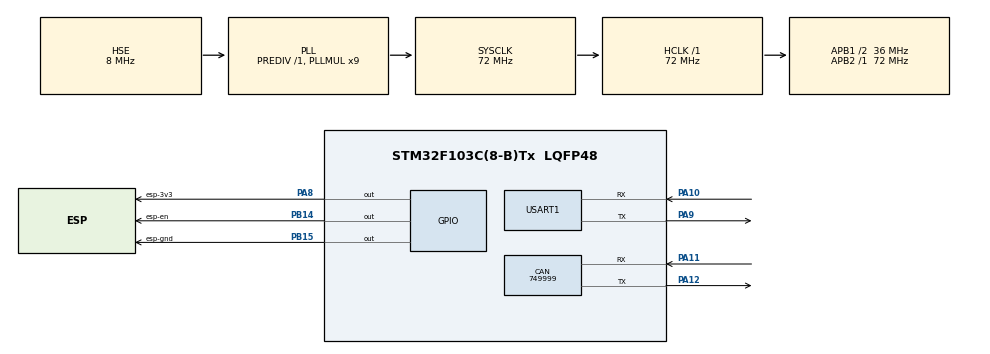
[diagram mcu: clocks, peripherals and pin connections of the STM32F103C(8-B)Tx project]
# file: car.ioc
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CAN.CalculateBaudRate=749999
CAN.CalculateTimeBit=1333
CAN.CalculateTimeQuantum=444.44444444444446
Mcu.Family=STM32F1
Mcu.Name=STM32F103C(8-B)Tx
Mcu.Package=LQFP48
NVIC.PriorityGroup=NVIC_PRIORITYGROUP_4
PA10.Mode=Asynchronous
PA10.Signal=USART1_RX
PA11.Mode=CAN_Activate
PA11.Signal=CAN_RX
PA12.Mode=CAN_Activate
PA12.Signal=CAN_TX
PA13.Mode=Serial_Wire
PA13.Signal=SYS_JTMS-SWDIO
PA14.Mode=Serial_Wire
PA14.Signal=SYS_JTCK-SWCLK
PA8.GPIO_Label=esp-3v3
PA8.GPIO_ModeDefaultOutputPP=GPIO_MODE_OUTPUT_PP
PA8.GPIO_PuPd=GPIO_PULLUP
PA8.PinState=GPIO_PIN_RESET
PA8.Signal=GPIO_Output
PA9.Mode=Asynchronous
PA9.Signal=USART1_TX
PB14.GPIO_Label=esp-en
PB14.GPIO_PuPd=GPIO_PULLUP
PB14.Signal=GPIO_Output
PB15.GPIO_Label=esp-gnd
PB15.GPIO_PuPd=GPIO_PULLDOWN
PB15.Signal=GPIO_Output
PD0-OSC_IN.Mode=HSE-External-Oscillator
PD0-OSC_IN.Signal=RCC_OSC_IN
PD1-OSC_OUT.Mode=HSE-External-Oscillator
PD1-OSC_OUT.Signal=RCC_OSC_OUT
ProjectManager.HeapSize=0x200
ProjectManager.StackSize=0x400
ProjectManager.TargetToolchain=CMake
RCC.AHBFreq_Value=72000000
RCC.APB1CLKDivider=RCC_HCLK_DIV2
RCC.APB1Freq_Value=36000000
RCC.APB1TimFreq_Value=72000000
RCC.APB2Freq_Value=72000000
RCC.APB2TimFreq_Value=72000000
RCC.HCLKFreq_Value=72000000
RCC.PLLMUL=RCC_PLL_MUL9
RCC.PLLSourceVirtual=RCC_PLLSOURCE_HSE
RCC.SYSCLKFreq_VALUE=72000000
RCC.SYSCLKSource=RCC_SYSCLKSOURCE_PLLCLK
RCC.USBFreq_Value=72000000
USART1.VirtualMode=VM_ASYNC
board=custom

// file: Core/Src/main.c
/* USER CODE BEGIN Header */
/**
  ******************************************************************************
  * @file           : main.c
  * @brief          : CAN OBD2 Dashboard - Multi-Protocol Auto-Detect
  ******************************************************************************
  */
/* USER CODE END Header */
#include "main.h"

/* USER CODE BEGIN Includes */
#include <stdio.h>
#include <string.h>
/* USER CODE END Includes */

/* USER CODE BEGIN PD */
#define DBG_UART &huart1

// 串口DMA发送环形缓冲区
#define UART_TX_BUF_SIZE 512
static uint8_t uart_tx_buf[UART_TX_BUF_SIZE];
static volatile uint16_t uart_tx_wr = 0;
static volatile uint16_t uart_tx_rd = 0;
static volatile uint8_t uart_tx_dma_busy = 0;
static volatile uint16_t uart_tx_dma_len = 0;

// DMA句柄
DMA_HandleTypeDef hdma_usart1_tx;

// PID发送间隔 (ms)
#define PID_SEND_INTERVAL 5

// OBD2 CAN 协议定义 (ELM327 编号)
typedef enum {
    PROTO_NONE = 0,
    PROTO_CAN_11B_500K = 6,
    PROTO_CAN_11B_250K = 8,
    PROTO_CAN_29B_500K = 7,
    PROTO_CAN_29B_250K = 9,
} OBD2_Protocol_t;

static OBD2_Protocol_t obd2_protocol = PROTO_NONE;

// PID 轮询列表
#define PID_COUNT 6
static const uint8_t obd2_pid_list[PID_COUNT] = {
    0x04, 0x05, 0x0C, 0x0D, 0x10, 0x11
};
static const char* pid_names[PID_COUNT] = {
    "LOAD", "TMP", "RPM", "SPD", "MAF", "THR"
};

// 解析后的数据
static volatile int16_t pid_values[PID_COUNT] = {-1, -1, -1, -1, -1, -1};
static volatile uint8_t  pid_valid[PID_COUNT] = {0, 0, 0, 0, 0, 0};
static volatile uint32_t pid_rx_count = 0;
static volatile uint32_t pid_tx_count = 0;
static volatile uint32_t pid_timeout_count = 0;
static volatile uint8_t  rx_ready = 0;

static CAN_RxHeaderTypeDef rx_header_buf;
static uint8_t rx_data_buf[8];

// 状态机
typedef enum { OBD2_IDLE, OBD2_WAITING } OBD2_State_t;
static volatile OBD2_State_t obd2_state = OBD2_IDLE;
static volatile uint32_t obd2_wait_tick = 0;
static volatile uint8_t obd2_current_pid_idx = 0;

/* 串口接收缓冲区（参考 car111plus 帧格式） */
#define UART_RX_BUF_SIZE 128
static uint8_t uart_rx_byte;
static uint8_t uart_rx_buf[UART_RX_BUF_SIZE];
static uint8_t uart_rx_wr_idx = 0;
static volatile uint8_t uart_rx_ready = 0;
/* USER CODE END PD */

CAN_HandleTypeDef hcan;

UART_HandleTypeDef huart1;

void SystemClock_Config(void);
static void MX_GPIO_Init(void);
static void MX_CAN_Init(void);
static void MX_USART1_UART_Init(void);
/* USER CODE BEGIN PFP */
static void ESP_PowerOn(void);
static void ESP_PowerOff(void);
static void ESP_HardReset(void);
static void MX_DMA_Init(void);
static void UART_TxBuf_StartDMA(void);
/* USER CODE END PFP */

/* USER CODE BEGIN 0 */

/* ---------- 串口DMA发送 ---------- */
static void UART_TxBuf_StartDMA(void)
{
    uint32_t primask = __get_PRIMASK();
    __disable_irq();

    if (uart_tx_dma_busy) {
        __set_PRIMASK(primask);
        return;
    }

    uint16_t rd = uart_tx_rd;
    uint16_t wr = uart_tx_wr;

    if (rd == wr) {
        __set_PRIMASK(primask);
        return;
    }

    uint16_t len = (wr > rd) ? (wr - rd) : (UART_TX_BUF_SIZE - rd);
    uart_tx_dma_busy = 1;
    uart_tx_dma_len = len;
    __set_PRIMASK(primask);

    if (HAL_UART_Transmit_DMA(&huart1, &uart_tx_buf[rd], len) != HAL_OK) {
        __disable_irq();
        uart_tx_dma_busy = 0;
        __enable_irq();
    }
}

int _write(int file, char *ptr, int len)
{
    (void)file;

    uint32_t primask = __get_PRIMASK();
    __disable_irq();

    int written = 0;
    for (int i = 0; i < len; i++) {
        uint16_t next = (uart_tx_wr + 1) % UART_TX_BUF_SIZE;
        if (next == uart_tx_rd) break; // 缓冲区满
        uart_tx_buf[uart_tx_wr] = ptr[i];
        uart_tx_wr = next;
        written++;
    }

    __set_PRIMASK(primask);

    UART_TxBuf_StartDMA();
    return written;
}

int __io_putchar(int ch)
{
    char c = ch;
    _write(0, &c, 1);
    return ch;
}

/* DMA发送完成回调 */
void HAL_UART_TxCpltCallback(UART_HandleTypeDef *huart)
{
    if (huart->Instance != USART1) return;

    __disable_irq();
    uart_tx_rd = (uart_tx_rd + uart_tx_dma_len) % UART_TX_BUF_SIZE;
    uart_tx_dma_busy = 0;
    __enable_irq();

    UART_TxBuf_StartDMA();
}

/* ESP-01 电源控制 -----------------------------------------------------------*/
// 警告：PB15(esp_gnd) 被直接用作 ESP-01 的功率地。GPIO 引脚不适合承载 ESP-01
// 的峰值电流(>300mA)，长期/大量使用可能导致 STM32 复位或损坏。强烈建议将
// ESP-01 的 GND 直接接到系统公共地（如排针 GND、面包板公共地），而非 GPIO。
//
// 以下宏定义电源和使能的有效电平，请根据实际电路修改：
//   GPIO_PIN_SET   = 高电平有效（高侧开关 / N-MOS+驱动）
//   GPIO_PIN_RESET = 低电平有效（PMOS 高侧开关 / 低使能 LDO）
#define ESP_PWR_ACTIVE_LEVEL    GPIO_PIN_SET    // esp_3v3 供电开关有效电平
#define ESP_EN_ACTIVE_LEVEL     GPIO_PIN_SET    // esp_en  CH_PD/EN 有效电平

static void ESP_PowerOn(void)
{
    GPIO_PinState en_off = (ESP_EN_ACTIVE_LEVEL == GPIO_PIN_SET) ? GPIO_PIN_RESET : GPIO_PIN_SET;

    // PB15(esp_gnd) 已作为功率地使用，必须始终保持低电平，严禁拉高！
    // CubeMX 初始化时已将其设为 RESET(低)，此处不再操作。

    // 1. EN先拉低，确保ESP处于复位状态
    HAL_GPIO_WritePin(esp_en_GPIO_Port, esp_en_Pin, en_off);

    // 2. 开启3.3V供电
    HAL_GPIO_WritePin(esp_3v3_GPIO_Port, esp_3v3_Pin, ESP_PWR_ACTIVE_LEVEL);

    // 3. 等待电源稳定（至少100ms，留200ms余量）
    HAL_Delay(200);

    // 4. 拉高EN释放复位，ESP开始从Flash启动
    HAL_GPIO_WritePin(esp_en_GPIO_Port, esp_en_Pin, ESP_EN_ACTIVE_LEVEL);

    // 5. 等待ESP-01启动完成（典型500ms~1s）
    HAL_Delay(1000);
    printf("[ESP] Power on sequence completed\r\n");
}

static void ESP_PowerOff(void)
{
    GPIO_PinState en_off = (ESP_EN_ACTIVE_LEVEL == GPIO_PIN_SET) ? GPIO_PIN_RESET : GPIO_PIN_SET;
    GPIO_PinState pwr_off = (ESP_PWR_ACTIVE_LEVEL == GPIO_PIN_SET) ? GPIO_PIN_RESET : GPIO_PIN_SET;

    // 1. 先拉低EN，让ESP进入复位
    HAL_GPIO_WritePin(esp_en_GPIO_Port, esp_en_Pin, en_off);
    HAL_Delay(50);

    // 2. 关闭3.3V供电
    HAL_GPIO_WritePin(esp_3v3_GPIO_Port, esp_3v3_Pin, pwr_off);

    // 注意：此处严禁操作 PB15(esp_gnd)。若拉高，ESP-01 将因 GND 被拉到 3.3V 而烧毁。

    printf("[ESP] Powered off\r\n");
}

static void ESP_HardReset(void)
{
    printf("[ESP] Hard resetting...\r\n");
    ESP_PowerOff();
    HAL_Delay(500);
    ESP_PowerOn();
}

// 检查响应 ID 是否有效
// 11-bit: 0x7E8 ~ 0x7EF
// 29-bit: 0x18DAF100 ~ 0x18DAF1EF
static int IsValidResponseID(uint32_t id, uint32_t ide)
{
    if (ide == CAN_ID_STD) {
        return (id >= 0x7E8 && id <= 0x7EF);
    } else {
        return (id >= 0x18DAF100 && id <= 0x18DAF1EF);
    }
}

// 发送原始 OBD2 请求帧
static int OBD2_SendRaw(uint32_t id, uint8_t is_ext, uint8_t pid)
{
    CAN_TxHeaderTypeDef txh;
    uint8_t txd[8];
    uint32_t mb;

    uint32_t tec = (CAN1->ESR >> 16) & 0xFF;
    uint32_t rec = (CAN1->ESR >> 24) & 0xFF;
    if (rec > 200 || tec > 100) {
        HAL_CAN_Stop(&hcan);
        HAL_CAN_Start(&hcan);
        HAL_CAN_ActivateNotification(&hcan, CAN_IT_RX_FIFO0_MSG_PENDING);
    }

    if (HAL_CAN_GetTxMailboxesFreeLevel(&hcan) == 0) {
        HAL_CAN_AbortTxRequest(&hcan, CAN_TX_MAILBOX0);
        HAL_CAN_AbortTxRequest(&hcan, CAN_TX_MAILBOX1);
        HAL_CAN_AbortTxRequest(&hcan, CAN_TX_MAILBOX2);
    }

    txh.StdId = is_ext ? 0 : (id & 0x7FF);
    txh.ExtId = is_ext ? id : 0;
    txh.IDE   = is_ext ? CAN_ID_EXT : CAN_ID_STD;
    txh.RTR   = CAN_RTR_DATA;
    txh.DLC   = 8;
    txh.TransmitGlobalTime = DISABLE;

    txd[0] = 0x02;
    txd[1] = 0x01;
    txd[2] = pid;
    txd[3] = 0x00; txd[4] = 0x00; txd[5] = 0x00; txd[6] = 0x00; txd[7] = 0x00;

    return HAL_CAN_AddTxMessage(&hcan, &txh, txd, &mb);
}

// 根据当前协议发送请求（自动选择 11b/29b）
static int OBD2_SendRequest(uint8_t pid)
{
    uint32_t tx_id;
    uint8_t is_ext;

    switch (obd2_protocol) {
        case PROTO_CAN_29B_500K:
        case PROTO_CAN_29B_250K:
            tx_id = 0x18DB33F1;  // 29-bit 功能请求 ID
            is_ext = 1;
            break;
        default:
            tx_id = 0x7DF;       // 11-bit 功能请求 ID
            is_ext = 0;
            break;
    }
    return OBD2_SendRaw(tx_id, is_ext, pid);
}

// 解析 PID 数据
static void ParsePID(uint8_t pid, uint8_t *data, uint8_t dlc)
{
    int16_t value = -1;
    switch (pid) {
        case 0x04: // 计算机负载 (%)
            if (dlc >= 4) value = (int16_t)(data[3] * 100 / 255);
            break;
        case 0x05: // 冷却液温度 (°C)
            if (dlc >= 4) value = (int16_t)data[3] - 40;
            break;
        case 0x0C: // 发动机转速 (RPM)
            if (dlc >= 5) value = (int16_t)((data[3] * 256 + data[4]) / 4);
            break;
        case 0x0D: // 车速 (km/h)
            if (dlc >= 4) value = (int16_t)data[3];
            break;
        case 0x10: // 空气流量 (g/s)
            if (dlc >= 5) value = (int16_t)((data[3] * 256 + data[4]) / 100);
            break;
        case 0x11: // 节气门位置 (%)
            if (dlc >= 4) value = (int16_t)(data[3] * 100 / 255);
            break;
    }
    for (int i = 0; i < PID_COUNT; i++) {
        if (obd2_pid_list[i] == pid) {
            pid_values[i] = value;
            pid_valid[i] = 1;
            break;
        }
    }
}

// 配置 CAN 波特率并重启
static int CAN_SetBaudrate(uint32_t prescaler)
{
    HAL_CAN_Stop(&hcan);
    hcan.Init.Prescaler = prescaler;
    if (HAL_CAN_Init(&hcan) != HAL_OK) return -1;

    CAN_FilterTypeDef cf = {0};
    cf.FilterBank = 0;
    cf.FilterMode = CAN_FILTERMODE_IDMASK;
    cf.FilterScale = CAN_FILTERSCALE_32BIT;
    cf.FilterIdHigh = 0x0000; cf.FilterIdLow = 0x0000;
    cf.FilterMaskIdHigh = 0x0000; cf.FilterMaskIdLow = 0x0000;
    cf.FilterFIFOAssignment = CAN_FILTER_FIFO0;
    cf.FilterActivation = ENABLE;
    cf.SlaveStartFilterBank = 14;
    if (HAL_CAN_ConfigFilter(&hcan, &cf) != HAL_OK) return -1;
    if (HAL_CAN_Start(&hcan) != HAL_OK) return -1;
    if (HAL_CAN_ActivateNotification(&hcan, CAN_IT_RX_FIFO0_MSG_PENDING) != HAL_OK) return -1;
    return 0;
}

// 上电协议自动检测
static OBD2_Protocol_t OBD2_DetectProtocol(void)
{
    const struct {
        OBD2_Protocol_t proto;
        uint32_t prescaler;
        uint8_t is_ext;
        uint32_t tx_id;
        const char* name;
    } tests[] = {
        {PROTO_CAN_11B_500K, 4, 0, 0x7DF,      "ISO15765-4 CAN 11b 500k"},   // 36M/(4*18)=500k
        {PROTO_CAN_11B_250K, 8, 0, 0x7DF,      "ISO15765-4 CAN 11b 250k"},   // 36M/(8*18)=250k
        {PROTO_CAN_29B_500K, 4, 1, 0x18DB33F1, "ISO15765-4 CAN 29b 500k"},   // 36M/(4*18)=500k
        {PROTO_CAN_29B_250K, 8, 1, 0x18DB33F1, "ISO15765-4 CAN 29b 250k"},   // 36M/(8*18)=250k
    };

    printf("[DETECT] Scanning OBD2 CAN protocols...\r\n");

    for (int i = 0; i < 4; i++) {
        printf("[DETECT] Trying %s... ", tests[i].name);

        if (CAN_SetBaudrate(tests[i].prescaler) != 0) {
            printf("INIT FAIL\r\n");
            continue;
        }
        HAL_Delay(50);

        // 发送 PID 0x0C(转速) 测试请求，该 PID 几乎所有 ECU 都支持
        if (OBD2_SendRaw(tests[i].tx_id, tests[i].is_ext, 0x0C) == HAL_OK) {
            uint32_t start = HAL_GetTick();
            int found = 0;
            while (HAL_GetTick() - start < 500) {
                if (rx_ready) {
                    rx_ready = 0;
                    uint32_t rid = (rx_header_buf.IDE == CAN_ID_EXT) ? rx_header_buf.ExtId : rx_header_buf.StdId;
                    if (IsValidResponseID(rid, rx_header_buf.IDE)) {
                        found = 1;
                        break;
                    }
                }
            }
            if (found) {
                printf("OK\r\n");
                printf("[DETECT] Protocol detected: %s\r\n", tests[i].name);
                // 清空检测阶段残留的 CAN 接收帧，避免污染正式轮询
                CAN_RxHeaderTypeDef hdr;
                uint8_t d[8];
                while (HAL_CAN_GetRxFifoFillLevel(&hcan, CAN_RX_FIFO0) > 0) {
                    HAL_CAN_GetRxMessage(&hcan, CAN_RX_FIFO0, &hdr, d);
                }
                rx_ready = 0;
                return tests[i].proto;
            }
        }
        printf("NO RESP\r\n");
        HAL_Delay(100);
    }

    printf("[DETECT] No CAN protocol found!\r\n");
    return PROTO_NONE;
}

// CAN 接收中断回调
void HAL_CAN_RxFifo0MsgPendingCallback(CAN_HandleTypeDef *hcan)
{
    CAN_RxHeaderTypeDef hdr;
    uint8_t data[8];
    if (HAL_CAN_GetRxMessage(hcan, CAN_RX_FIFO0, &hdr, data) == HAL_OK) {
        uint32_t rid = (hdr.IDE == CAN_ID_EXT) ? hdr.ExtId : hdr.StdId;
        // 检测阶段或运行阶段都接收有效响应
        if (IsValidResponseID(rid, hdr.IDE)) {
            rx_header_buf = hdr;
            memcpy((void*)rx_data_buf, data, 8);
            rx_ready = 1;
        }
    }
}

/* 串口接收中断回调（参考 car111plus 帧格式：[...]） */
void HAL_UART_RxCpltCallback(UART_HandleTypeDef *huart)
{
    if (huart->Instance != USART1) {
        return;
    }

    if (uart_rx_byte == '[') {
        uart_rx_wr_idx = 0;
        uart_rx_buf[uart_rx_wr_idx++] = uart_rx_byte;
    } else if (uart_rx_wr_idx > 0 && uart_rx_wr_idx < UART_RX_BUF_SIZE) {
        uart_rx_buf[uart_rx_wr_idx++] = uart_rx_byte;
        if (uart_rx_byte == ']') {
            uart_rx_buf[uart_rx_wr_idx] = '\0';
            uart_rx_ready = 1;
            uart_rx_wr_idx = 0;
        }
    }

    HAL_UART_Receive_IT(&huart1, &uart_rx_byte, 1);
}

/* 解析串口接收数据（car111plus 兼容格式） */
static void ParseRxData(void)
{
    uart_rx_ready = 0;

    int load = 0, tmp = 0, rpm = 0, spd = 0, maf = 0, thr = 0;
    int n = sscanf((char *)uart_rx_buf,
                   "[LOAD=%d TMP=%d RPM=%d SPD=%d MAF=%d THR=%d]",
                   &load, &tmp, &rpm, &spd, &maf, &thr);

    if (n == 6) {
        printf("[RX] Parsed: LOAD=%d TMP=%d RPM=%d SPD=%d MAF=%d THR=%d\r\n",
               load, tmp, rpm, spd, maf, thr);
        /* 这里可以添加将接收数据应用到本地变量的逻辑 */
    }
}
/* USER CODE END 0 */

int main(void)
{

  /* MCU Configuration--------------------------------------------------------*/

  /* Reset of all peripherals, Initializes the Flash interface and the Systick. */
  HAL_Init();

  /* Configure the system clock */
  SystemClock_Config();

  /* Initialize all configured peripherals */
  MX_GPIO_Init();
  MX_CAN_Init();
  MX_USART1_UART_Init();
  MX_DMA_Init();
  /* USER CODE BEGIN 2 */
  /* 启动串口接收中断 */
  HAL_UART_Receive_IT(&huart1, &uart_rx_byte, 1);

  ESP_PowerOn();
  /* USER CODE END 2 */

  /* Infinite loop */
  while (1)
  {

    /* USER CODE BEGIN 3 */

    // ---------- OBD2 协议自动检测 ----------
    if (obd2_protocol == PROTO_NONE) {
        obd2_protocol = OBD2_DetectProtocol();
        if (obd2_protocol == PROTO_NONE) {
            printf("[OBD2] No protocol detected, retry in 2s...\r\n");
            HAL_Delay(2000);
        } else {
            printf("[OBD2] Protocol ready, start polling PIDs\r\n");
        }
        continue;
    }

    // ---------- 串口接收处理 ----------
    if (uart_rx_ready) {
        ParseRxData();
    }

    // ---------- PID 轮询状态机 ----------
    static uint32_t last_pid_send_tick = 0;
    if (obd2_state == OBD2_IDLE) {
        uint32_t now = HAL_GetTick();
        if (now - last_pid_send_tick >= PID_SEND_INTERVAL) {
            last_pid_send_tick = now;
            uint8_t pid = obd2_pid_list[obd2_current_pid_idx];
            if (OBD2_SendRequest(pid) == HAL_OK) {
                obd2_state = OBD2_WAITING;
                obd2_wait_tick = now;
                pid_tx_count++;
            }
        }
    }
    else if (obd2_state == OBD2_WAITING) {
        if (rx_ready) {
            rx_ready = 0;

            // 从 OBD2 响应帧中提取实际 PID（ISO 15765-4 单帧格式：data[1]=0x41, data[2]=PID）
            if (rx_header_buf.DLC >= 3 && rx_data_buf[1] == 0x41) {
                uint8_t resp_pid = rx_data_buf[2];
                ParsePID(resp_pid, (uint8_t*)rx_data_buf, rx_header_buf.DLC);
                pid_rx_count++;

                // 同步状态机索引到实际响应的 PID，防止超时/延迟导致的错位累积
                for (int i = 0; i < PID_COUNT; i++) {
                    if (obd2_pid_list[i] == resp_pid) {
                        obd2_current_pid_idx = i;
                        break;
                    }
                }
            }

            // 按 car111plus 兼容格式输出完整数据帧
            printf("[LOAD=%d TMP=%d RPM=%d SPD=%d MAF=%d THR=%d]\r\n",
                   (int)pid_values[0], (int)pid_values[1], (int)pid_values[2],
                   (int)pid_values[3], (int)pid_values[4], (int)pid_values[5]);

            // 轮询下一个 PID
            obd2_current_pid_idx = (obd2_current_pid_idx + 1) % PID_COUNT;
            obd2_state = OBD2_IDLE;
        }
        else if (HAL_GetTick() - obd2_wait_tick > 100) {  // 100ms 超时
            pid_timeout_count++;
            obd2_current_pid_idx = (obd2_current_pid_idx + 1) % PID_COUNT;
            obd2_state = OBD2_IDLE;
        }
    }
    /* USER CODE END 3 */
  }
  /* USER CODE END 3 */
}

void SystemClock_Config(void)
{
  RCC_OscInitTypeDef RCC_OscInitStruct = {0};
  RCC_ClkInitTypeDef RCC_ClkInitStruct = {0};

  /** Initializes the RCC Oscillators according to the specified parameters
  * in the RCC_OscInitTypeDef structure.
  */
  RCC_OscInitStruct.OscillatorType = RCC_OSCILLATORTYPE_HSE;
  RCC_OscInitStruct.HSEState = RCC_HSE_ON;
  RCC_OscInitStruct.HSEPredivValue = RCC_HSE_PREDIV_DIV1;
  RCC_OscInitStruct.HSIState = RCC_HSI_ON;
  RCC_OscInitStruct.PLL.PLLState = RCC_PLL_ON;
  RCC_OscInitStruct.PLL.PLLSource = RCC_PLLSOURCE_HSE;
  RCC_OscInitStruct.PLL.PLLMUL = RCC_PLL_MUL9;
  if (HAL_RCC_OscConfig(&RCC_OscInitStruct) != HAL_OK)
  {
    Error_Handler();
  }

  /** Initializes the CPU, AHB and APB buses clocks
  */
  RCC_ClkInitStruct.ClockType = RCC_CLOCKTYPE_HCLK|RCC_CLOCKTYPE_SYSCLK
                              |RCC_CLOCKTYPE_PCLK1|RCC_CLOCKTYPE_PCLK2;
  RCC_ClkInitStruct.SYSCLKSource = RCC_SYSCLKSOURCE_PLLCLK;
  RCC_ClkInitStruct.AHBCLKDivider = RCC_SYSCLK_DIV1;
  RCC_ClkInitStruct.APB1CLKDivider = RCC_HCLK_DIV2;
  RCC_ClkInitStruct.APB2CLKDivider = RCC_HCLK_DIV1;

  if (HAL_RCC_ClockConfig(&RCC_ClkInitStruct, FLASH_LATENCY_2) != HAL_OK)
  {
    Error_Handler();
  }
}

static void MX_DMA_Init(void)
{
  __HAL_RCC_DMA1_CLK_ENABLE();

  hdma_usart1_tx.Instance = DMA1_Channel4;
  hdma_usart1_tx.Init.Direction = DMA_MEMORY_TO_PERIPH;
  hdma_usart1_tx.Init.PeriphInc = DMA_PINC_DISABLE;
  hdma_usart1_tx.Init.MemInc = DMA_MINC_ENABLE;
  hdma_usart1_tx.Init.PeriphDataAlignment = DMA_PDATAALIGN_BYTE;
  hdma_usart1_tx.Init.MemDataAlignment = DMA_MDATAALIGN_BYTE;
  hdma_usart1_tx.Init.Mode = DMA_NORMAL;
  hdma_usart1_tx.Init.Priority = DMA_PRIORITY_MEDIUM;
  HAL_DMA_Init(&hdma_usart1_tx);

  HAL_NVIC_SetPriority(DMA1_Channel4_IRQn, 5, 0);
  HAL_NVIC_EnableIRQ(DMA1_Channel4_IRQn);
}

static void MX_CAN_Init(void)
{

  hcan.Instance = CAN1;
  hcan.Init.Prescaler = 4;                // 500k @ 36MHz APB1: 36M/(4*18) = 500k
  hcan.Init.Mode = CAN_MODE_NORMAL;
  hcan.Init.SyncJumpWidth = CAN_SJW_1TQ;
  hcan.Init.TimeSeg1 = CAN_BS1_15TQ;      // 位时间 = 1+15+2 = 18 TQ
  hcan.Init.TimeSeg2 = CAN_BS2_2TQ;
  hcan.Init.TimeTriggeredMode = DISABLE;
  hcan.Init.AutoBusOff = DISABLE;
  hcan.Init.AutoWakeUp = DISABLE;
  hcan.Init.AutoRetransmission = ENABLE;  // 发送失败自动重试
  hcan.Init.ReceiveFifoLocked = DISABLE;
  hcan.Init.TransmitFifoPriority = DISABLE;
  if (HAL_CAN_Init(&hcan) != HAL_OK)
  {
    Error_Handler();
  }

}

static void MX_USART1_UART_Init(void)
{

  huart1.Instance = USART1;
  huart1.Init.BaudRate = 460800;
  huart1.Init.WordLength = UART_WORDLENGTH_8B;
  huart1.Init.StopBits = UART_STOPBITS_1;
  huart1.Init.Parity = UART_PARITY_NONE;
  huart1.Init.Mode = UART_MODE_TX_RX;
  huart1.Init.HwFlowCtl = UART_HWCONTROL_NONE;
  huart1.Init.OverSampling = UART_OVERSAMPLING_16;
  if (HAL_UART_Init(&huart1) != HAL_OK)
  {
    Error_Handler();
  }

  // 链接DMA到UART发送
  __HAL_LINKDMA(&huart1, hdmatx, hdma_usart1_tx);

}

static void MX_GPIO_Init(void)
{
  GPIO_InitTypeDef GPIO_InitStruct = {0};

  /* GPIO Ports Clock Enable */
  __HAL_RCC_GPIOD_CLK_ENABLE();
  __HAL_RCC_GPIOB_CLK_ENABLE();
  __HAL_RCC_GPIOA_CLK_ENABLE();

  /*Configure GPIO pin Output Level */
  HAL_GPIO_WritePin(GPIOB, esp_en_Pin|esp_gnd_Pin, GPIO_PIN_RESET);

  /*Configure GPIO pin Output Level */
  HAL_GPIO_WritePin(esp_3v3_GPIO_Port, esp_3v3_Pin, GPIO_PIN_RESET);

  /*Configure GPIO pin : esp_en_Pin */
  GPIO_InitStruct.Pin = esp_en_Pin;
  GPIO_InitStruct.Mode = GPIO_MODE_OUTPUT_PP;
  GPIO_InitStruct.Pull = GPIO_PULLUP;
  GPIO_InitStruct.Speed = GPIO_SPEED_FREQ_LOW;
  HAL_GPIO_Init(esp_en_GPIO_Port, &GPIO_InitStruct);

  /*Configure GPIO pin : esp_gnd_Pin */
  GPIO_InitStruct.Pin = esp_gnd_Pin;
  GPIO_InitStruct.Mode = GPIO_MODE_OUTPUT_PP;
  GPIO_InitStruct.Pull = GPIO_PULLDOWN;
  GPIO_InitStruct.Speed = GPIO_SPEED_FREQ_LOW;
  HAL_GPIO_Init(esp_gnd_GPIO_Port, &GPIO_InitStruct);

  /*Configure GPIO pin : esp_3v3_Pin */
  GPIO_InitStruct.Pin = esp_3v3_Pin;
  GPIO_InitStruct.Mode = GPIO_MODE_OUTPUT_PP;
  GPIO_InitStruct.Pull = GPIO_PULLUP;
  GPIO_InitStruct.Speed = GPIO_SPEED_FREQ_LOW;
  HAL_GPIO_Init(esp_3v3_GPIO_Port, &GPIO_InitStruct);

}

void Error_Handler(void)
{
  __disable_irq();
  while (1)
  {
  }
}
